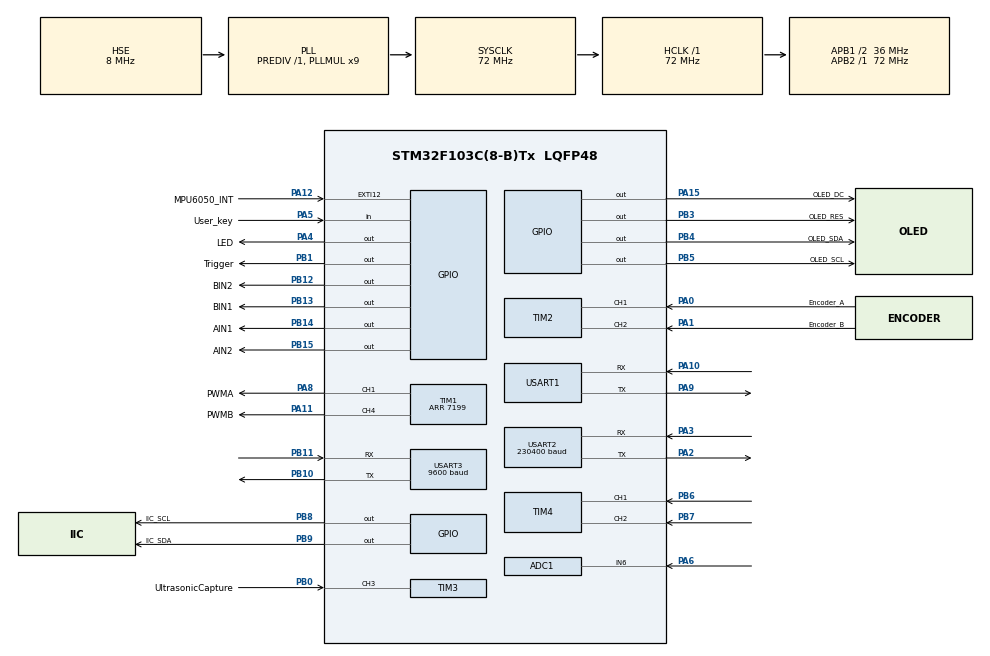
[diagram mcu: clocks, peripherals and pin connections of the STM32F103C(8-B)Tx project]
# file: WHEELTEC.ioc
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ADC1.Channel-0\#ChannelRegularConversion=ADC_CHANNEL_6
ADC1.NbrOfConversionFlag=1
ADC1.Rank-0\#ChannelRegularConversion=1
ADC1.SamplingTime-0\#ChannelRegularConversion=ADC_SAMPLETIME_1CYCLE_5
ADC1.master=1
Dma.Request0=USART2_RX
Dma.Request1=USART2_TX
Dma.USART2_RX.0.Direction=DMA_PERIPH_TO_MEMORY
Dma.USART2_RX.0.Instance=DMA1_Channel6
Dma.USART2_RX.0.MemDataAlignment=DMA_MDATAALIGN_BYTE
Dma.USART2_RX.0.MemInc=DMA_MINC_ENABLE
Dma.USART2_RX.0.Mode=DMA_CIRCULAR
Dma.USART2_RX.0.PeriphDataAlignment=DMA_PDATAALIGN_BYTE
Dma.USART2_RX.0.PeriphInc=DMA_PINC_DISABLE
Dma.USART2_RX.0.Priority=DMA_PRIORITY_LOW
Dma.USART2_TX.1.Direction=DMA_MEMORY_TO_PERIPH
Dma.USART2_TX.1.Instance=DMA1_Channel7
Dma.USART2_TX.1.MemDataAlignment=DMA_MDATAALIGN_BYTE
Dma.USART2_TX.1.MemInc=DMA_MINC_ENABLE
Dma.USART2_TX.1.Mode=DMA_NORMAL
Dma.USART2_TX.1.PeriphDataAlignment=DMA_PDATAALIGN_BYTE
Dma.USART2_TX.1.PeriphInc=DMA_PINC_DISABLE
Dma.USART2_TX.1.Priority=DMA_PRIORITY_LOW
Mcu.Family=STM32F1
Mcu.Name=STM32F103C(8-B)Tx
Mcu.Package=LQFP48
NVIC.DMA1_Channel6_IRQn=true\:0\:0\:false\:false\:true\:false\:true\:true
NVIC.DMA1_Channel7_IRQn=true\:0\:0\:false\:false\:true\:false\:true\:true
NVIC.EXTI15_10_IRQn=true\:2\:1\:true\:false\:true\:true\:true\:true
NVIC.PriorityGroup=NVIC_PRIORITYGROUP_2
NVIC.TIM3_IRQn=true\:1\:1\:true\:false\:true\:true\:true\:true
NVIC.USART2_IRQn=true\:0\:0\:false\:false\:true\:true\:true\:true
NVIC.USART3_IRQn=true\:1\:1\:true\:false\:true\:true\:true\:true
PA0-WKUP.GPIO_Label=Encoder_A
PA0-WKUP.Signal=S_TIM2_CH1_ETR
PA1.GPIO_Label=Encoder_B
PA1.Signal=S_TIM2_CH2
PA10.Mode=Asynchronous
PA10.Signal=USART1_RX
PA11.GPIO_Label=PWMB
PA11.Signal=S_TIM1_CH4
PA12.GPIO_Label=MPU6050_INT
PA12.GPIO_PuPd=GPIO_PULLUP
PA12.Signal=GPXTI12
PA13.Mode=Serial_Wire
PA13.Signal=SYS_JTMS-SWDIO
PA14.Mode=Serial_Wire
PA14.Signal=SYS_JTCK-SWCLK
PA15.GPIO_Label=OLED_DC
PA15.GPIO_Speed=GPIO_SPEED_FREQ_HIGH
PA15.PinState=GPIO_PIN_SET
PA15.Signal=GPIO_Output
PA2.Mode=Asynchronous
PA2.Signal=USART2_TX
PA3.GPIO_PuPd=GPIO_PULLUP
PA3.Mode=Asynchronous
PA3.Signal=USART2_RX
PA4.GPIO_Label=LED
PA4.GPIO_Speed=GPIO_SPEED_FREQ_HIGH
PA4.PinState=GPIO_PIN_SET
PA4.Signal=GPIO_Output
PA5.GPIO_Label=User_key
PA5.GPIO_PuPd=GPIO_PULLUP
PA5.Signal=GPIO_Input
PA6.Signal=ADCx_IN6
PA8.GPIO_Label=PWMA
PA8.Signal=S_TIM1_CH1
PA9.Mode=Asynchronous
PA9.Signal=USART1_TX
PB0.GPIO_Label=UltrasonicCapture
PB0.Signal=S_TIM3_CH3
PB1.GPIO_Label=Trigger
PB1.GPIO_Speed=GPIO_SPEED_FREQ_HIGH
PB1.PinState=GPIO_PIN_SET
PB1.Signal=GPIO_Output
PB10.Mode=Asynchronous
PB10.Signal=USART3_TX
PB11.Mode=Asynchronous
PB11.Signal=USART3_RX
PB12.GPIO_Label=BIN2
PB12.GPIO_Speed=GPIO_SPEED_FREQ_HIGH
PB12.PinState=GPIO_PIN_SET
PB12.Signal=GPIO_Output
PB13.GPIO_Label=BIN1
PB13.GPIO_Speed=GPIO_SPEED_FREQ_HIGH
PB13.PinState=GPIO_PIN_SET
PB13.Signal=GPIO_Output
PB14.GPIO_Label=AIN1
PB14.GPIO_Speed=GPIO_SPEED_FREQ_HIGH
PB14.PinState=GPIO_PIN_SET
PB14.Signal=GPIO_Output
PB15.GPIO_Label=AIN2
PB15.Signal=GPIO_Output
PB3.GPIO_Label=OLED_RES
PB3.GPIO_Speed=GPIO_SPEED_FREQ_HIGH
PB3.PinState=GPIO_PIN_SET
PB3.Signal=GPIO_Output
PB4.GPIO_Label=OLED_SDA
PB4.GPIO_Speed=GPIO_SPEED_FREQ_HIGH
PB4.PinState=GPIO_PIN_SET
PB4.Signal=GPIO_Output
PB5.GPIO_Label=OLED_SCL
PB5.GPIO_Speed=GPIO_SPEED_FREQ_HIGH
PB5.PinState=GPIO_PIN_SET
PB5.Signal=GPIO_Output
PB6.Signal=S_TIM4_CH1
PB7.Signal=S_TIM4_CH2
PB8.GPIO_Label=IIC_SCL
PB8.GPIO_Speed=GPIO_SPEED_FREQ_HIGH
PB8.PinState=GPIO_PIN_SET
PB8.Signal=GPIO_Output
PB9.GPIO_Label=IIC_SDA
PB9.GPIO_Speed=GPIO_SPEED_FREQ_HIGH
PB9.PinState=GPIO_PIN_SET
PB9.Signal=GPIO_Output
PD0-OSC_IN.Mode=HSE-External-Oscillator
PD0-OSC_IN.Signal=RCC_OSC_IN
PD1-OSC_OUT.Mode=HSE-External-Oscillator
PD1-OSC_OUT.Signal=RCC_OSC_OUT
ProjectManager.HeapSize=0x200
ProjectManager.StackSize=0x400
ProjectManager.TargetToolchain=STM32CubeIDE
RCC.ADCPresc=RCC_ADCPCLK2_DIV6
RCC.AHBFreq_Value=72000000
RCC.APB1CLKDivider=RCC_HCLK_DIV2
RCC.APB1Freq_Value=36000000
RCC.APB1TimFreq_Value=72000000
RCC.APB2Freq_Value=72000000
RCC.APB2TimFreq_Value=72000000
RCC.HCLKFreq_Value=72000000
RCC.PLLMUL=RCC_PLL_MUL9
RCC.PLLSourceVirtual=RCC_PLLSOURCE_HSE
RCC.SYSCLKFreq_VALUE=72000000
RCC.SYSCLKSource=RCC_SYSCLKSOURCE_PLLCLK
RCC.USBFreq_Value=72000000
SH.ADCx_IN6.0=ADC1_IN6,IN6
SH.S_TIM1_CH1.0=TIM1_CH1,PWM Generation1 CH1
SH.S_TIM1_CH4.0=TIM1_CH4,PWM Generation4 CH4
SH.S_TIM2_CH1_ETR.0=TIM2_CH1,Encoder_Interface
SH.S_TIM2_CH2.0=TIM2_CH2,Encoder_Interface
SH.S_TIM3_CH3.0=TIM3_CH3,Input_Capture3_from_TI3
SH.S_TIM4_CH1.0=TIM4_CH1,Encoder_Interface
SH.S_TIM4_CH2.0=TIM4_CH2,Encoder_Interface
TIM1.Channel-PWM\ Generation1\ CH1=TIM_CHANNEL_1
TIM1.Channel-PWM\ Generation4\ CH4=TIM_CHANNEL_4
TIM1.Period=7199
TIM2.EncoderMode=TIM_ENCODERMODE_TI12
TIM2.IC1Filter=10
TIM2.IC2Filter=10
TIM3.Channel-Input_Capture3_from_TI3=TIM_CHANNEL_3
TIM3.Prescaler=71
TIM4.EncoderMode=TIM_ENCODERMODE_TI12
TIM4.IC1Filter=10
USART1.VirtualMode=VM_ASYNC
USART2.BaudRate=230400
USART2.VirtualMode=VM_ASYNC
USART3.BaudRate=9600
USART3.VirtualMode=VM_ASYNC
VP_TIM3_VS_ClockSourceINT.Mode=Internal
board=custom

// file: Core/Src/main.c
/* USER CODE BEGIN Header */
/**
  ******************************************************************************
  * @file           : main.c
  * @brief          : Main program body
  ******************************************************************************
  * @attention
  *
  * <h2><center>&copy; Copyright (c) 2022 STMicroelectronics.
  * All rights reserved.</center></h2>
  *
  * This software component is licensed by ST under BSD 3-Clause license,
  * the "License"; You may not use this file except in compliance with the
  * License. You may obtain a copy of the License at:
  *                        opensource.org/licenses/BSD-3-Clause
  *
  ******************************************************************************
  */
/* USER CODE END Header */
#include "main.h"
#include "adc.h"
#include "dma.h"
#include "tim.h"
#include "usart.h"
#include "gpio.h"

/* USER CODE BEGIN PV */
u8 Way_Angle=2;                             //姿態演算法：1 DMP  2 卡爾曼  3 互補濾波（由參數 ANGLE_ALGO 設定）
u8 Flag_front,Flag_back,Flag_Left,Flag_Right,Flag_velocity=2; //原廠藍牙遙控旗標（APP_LEGACY_BT）
volatile u8 Flag_Stop=1;                    //1 = 馬達停止（開機預設停止）
int Motor_Left,Motor_Right;                 //馬達 PWM
int Temperature;                            //溫度
int Voltage;                                //電池電壓（0.01 V）
float Angle_Balance,Gyro_Balance,Gyro_Turn; //平衡傾角、平衡角速度、轉向角速度
u32 Distance;                               //超音波測距
u8 PID_Send;
volatile u8 delay_50,delay_flag;            //主迴圈 50 ms 節拍
float Velocity_Left,Velocity_Right;         //輪速 mm/s
float Acceleration_Z;                       //Z 軸加速度
float Balance_Kp=22500,Balance_Kd=108,Velocity_Kp=16000,Velocity_Ki=80,Turn_Kp=4200,Turn_Kd=0; //PID（放大 100 倍），開機後由 Params_Load() 覆蓋
/* USER CODE END PV */

void SystemClock_Config(void);

int main(void)
{

  /* MCU Configuration--------------------------------------------------------*/

  /* Reset of all peripherals, Initializes the Flash interface and the Systick. */
  HAL_Init();

  /* Configure the system clock */
  SystemClock_Config();

  /* Initialize all configured peripherals */
  MX_GPIO_Init();
  MX_DMA_Init();
  MX_ADC1_Init();
  MX_TIM1_Init();
  MX_TIM2_Init();
  MX_TIM3_Init();
  MX_TIM4_Init();
  MX_USART1_UART_Init();
  MX_USART3_UART_Init();
  MX_USART2_UART_Init();
  /* USER CODE BEGIN 2 */
  HAL_NVIC_DisableIRQ(EXTI15_10_IRQn); //先關閉 MPU6050 外部中斷，避免初始化過程中進入控制
  delay_init();                        //釋放 SysTick，HAL 時基改用 DWT

  HAL_ADCEx_Calibration_Start(&hadc1); //ADC 校準（電壓量測）

  /* 馬達 PWM：TIM1 CH1 = 右輪，CH4 = 左輪 */
  HAL_TIM_PWM_Start(&htim1,TIM_CHANNEL_1);
  HAL_TIM_PWM_Start(&htim1,TIM_CHANNEL_4);

  /* 編碼器：TIM2 左輪、TIM4 右輪 */
  HAL_TIM_Encoder_Start(&htim2,TIM_CHANNEL_ALL);
  HAL_TIM_Encoder_Start(&htim4,TIM_CHANNEL_ALL);

#if USE_ULTRASONIC
  HAL_TIM_IC_Start_IT(&htim3,TIM_CHANNEL_3); //超音波回波輸入捕獲
  HAL_TIM_Base_Start_IT(&htim3);
#endif

  OLED_Init();
  UI_Boot();                           //開機畫面
  Params_Load();                       //從 Flash 載入整定參數（無存檔則用預設）
  RC_Link_Init();                      //USART2 ⇄ ESP-01（DMA 收發），先啟動才收得到 ESP 開機送來的帳密
  MPU6050_initialize();
  DMP_Init();                          //約 1 秒，期間請保持車身靜止
  Motion_Init();

#if APP_LEGACY_BT
  RetargetInit(&huart3);               //printf → USART3 給原廠藍牙 APP
  HAL_UART_Receive_IT(&huart3,Usart3_Receive_buf,sizeof(Usart3_Receive_buf));
#endif

  HAL_NVIC_EnableIRQ(EXTI15_10_IRQn);  //開始 200 Hz 控制
  /* USER CODE END 2 */

  /* Infinite loop */
  /* USER CODE BEGIN WHILE */
  while (1)
  {
	UI_Task();                         //OLED 介面
	RC_Link_Task();                    //Flash 存檔等耗時工作、接收看門狗
#if APP_LEGACY_BT
	APP_Show();
#endif
	/* 50 ms 節拍由 MPU6050 中斷提供；IMU 異常時最多等 100 ms，介面仍會更新 */
	delay_flag=1;
	delay_50=0;
	{
	  static uint8_t imu_timeouts;
	  uint32_t t0 = DWT_CNT_GET();
	  while(delay_flag && (DWT_CNT_GET() - t0) < 7200000u);
	  if (delay_flag) {                  //控制中斷沒有在跑（IMU 斷線/當機）：馬達不能停在最後的 PWM
		if (++imu_timeouts >= 2) { Motion_ImuFault(); RC_Link_Tick(); }
	  } else imu_timeouts = 0;
	}
    /* USER CODE END WHILE */

  }
}

void SystemClock_Config(void)
{
  RCC_OscInitTypeDef RCC_OscInitStruct = {0};
  RCC_ClkInitTypeDef RCC_ClkInitStruct = {0};
  RCC_PeriphCLKInitTypeDef PeriphClkInit = {0};

  /** Initializes the RCC Oscillators according to the specified parameters
  * in the RCC_OscInitTypeDef structure.
  */
  RCC_OscInitStruct.OscillatorType = RCC_OSCILLATORTYPE_HSE;
  RCC_OscInitStruct.HSEState = RCC_HSE_ON;
  RCC_OscInitStruct.HSEPredivValue = RCC_HSE_PREDIV_DIV1;
  RCC_OscInitStruct.HSIState = RCC_HSI_ON;
  RCC_OscInitStruct.PLL.PLLState = RCC_PLL_ON;
  RCC_OscInitStruct.PLL.PLLSource = RCC_PLLSOURCE_HSE;
  RCC_OscInitStruct.PLL.PLLMUL = RCC_PLL_MUL9;
  if (HAL_RCC_OscConfig(&RCC_OscInitStruct) != HAL_OK)
  {
    Error_Handler();
  }

  /** Initializes the CPU, AHB and APB buses clocks
  */
  RCC_ClkInitStruct.ClockType = RCC_CLOCKTYPE_HCLK|RCC_CLOCKTYPE_SYSCLK
                              |RCC_CLOCKTYPE_PCLK1|RCC_CLOCKTYPE_PCLK2;
  RCC_ClkInitStruct.SYSCLKSource = RCC_SYSCLKSOURCE_PLLCLK;
  RCC_ClkInitStruct.AHBCLKDivider = RCC_SYSCLK_DIV1;
  RCC_ClkInitStruct.APB1CLKDivider = RCC_HCLK_DIV2;
  RCC_ClkInitStruct.APB2CLKDivider = RCC_HCLK_DIV1;

  if (HAL_RCC_ClockConfig(&RCC_ClkInitStruct, FLASH_LATENCY_2) != HAL_OK)
  {
    Error_Handler();
  }
  PeriphClkInit.PeriphClockSelection = RCC_PERIPHCLK_ADC;
  PeriphClkInit.AdcClockSelection = RCC_ADCPCLK2_DIV6;
  if (HAL_RCCEx_PeriphCLKConfig(&PeriphClkInit) != HAL_OK)
  {
    Error_Handler();
  }
}

void Error_Handler(void)
{
  __disable_irq();
  while (1)
  {
  }
}
